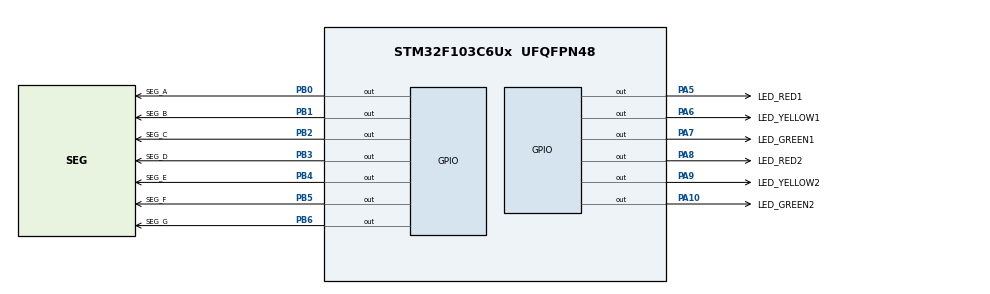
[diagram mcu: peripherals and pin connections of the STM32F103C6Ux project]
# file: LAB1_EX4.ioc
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Mcu.Family=STM32F1
Mcu.Name=STM32F103C6Ux
Mcu.Package=UFQFPN48
NVIC.PriorityGroup=NVIC_PRIORITYGROUP_4
PA10.GPIO_Label=LED_GREEN2
PA10.Signal=GPIO_Output
PA5.GPIO_Label=LED_RED1
PA5.Signal=GPIO_Output
PA6.GPIO_Label=LED_YELLOW1
PA6.Signal=GPIO_Output
PA7.GPIO_Label=LED_GREEN1
PA7.Signal=GPIO_Output
PA8.GPIO_Label=LED_RED2
PA8.Signal=GPIO_Output
PA9.GPIO_Label=LED_YELLOW2
PA9.Signal=GPIO_Output
PB0.GPIO_Label=SEG_A
PB0.Signal=GPIO_Output
PB1.GPIO_Label=SEG_B
PB1.Signal=GPIO_Output
PB2.GPIO_Label=SEG_C
PB2.Signal=GPIO_Output
PB3.GPIO_Label=SEG_D
PB3.Signal=GPIO_Output
PB4.GPIO_Label=SEG_E
PB4.Signal=GPIO_Output
PB5.GPIO_Label=SEG_F
PB5.Signal=GPIO_Output
PB6.GPIO_Label=SEG_G
PB6.Signal=GPIO_Output
ProjectManager.HeapSize=0x200
ProjectManager.StackSize=0x400
ProjectManager.TargetToolchain=STM32CubeIDE
RCC.APB1Freq_Value=8000000
RCC.APB2Freq_Value=8000000
VP_SYS_VS_ND.Mode=No_Debug
board=custom

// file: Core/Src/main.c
/* USER CODE BEGIN Header */
/**
  ******************************************************************************
  * @file           : main.c
  * @brief          : Main program body
  ******************************************************************************
  * @attention
  *
  * <h2><center>&copy; Copyright (c) 2024 STMicroelectronics.
  * All rights reserved.</center></h2>
  *
  * This software component is licensed by ST under BSD 3-Clause license,
  * the "License"; You may not use this file except in compliance with the
  * License. You may obtain a copy of the License at:
  *                        opensource.org/licenses/BSD-3-Clause
  *
  ******************************************************************************
  */
/* USER CODE END Header */
#include "main.h"

void SystemClock_Config(void);
static void MX_GPIO_Init(void);

int main(void)
{

  /* MCU Configuration--------------------------------------------------------*/

  /* Reset of all peripherals, Initializes the Flash interface and the Systick. */
  HAL_Init();

  /* Configure the system clock */
  SystemClock_Config();

  /* Initialize all configured peripherals */
  MX_GPIO_Init();

  /* Infinite loop */
  /* USER CODE BEGIN WHILE */
	int count = 0;
	int counter = 0;

	void display7SEG(int num) {
		if (num < 0 || num > 9)
			return;
		switch (num) {
		case 0:
			HAL_GPIO_WritePin(SEG_A_GPIO_Port, SEG_A_Pin, RESET);
			HAL_GPIO_WritePin(SEG_B_GPIO_Port, SEG_B_Pin, RESET);
			HAL_GPIO_WritePin(SEG_C_GPIO_Port, SEG_C_Pin, RESET);
			HAL_GPIO_WritePin(SEG_D_GPIO_Port, SEG_D_Pin, RESET);
			HAL_GPIO_WritePin(SEG_E_GPIO_Port, SEG_E_Pin, RESET);
			HAL_GPIO_WritePin(SEG_F_GPIO_Port, SEG_F_Pin, RESET);
			HAL_GPIO_WritePin(SEG_G_GPIO_Port, SEG_G_Pin, SET);
			break;
		case 1:
			HAL_GPIO_WritePin(SEG_A_GPIO_Port, SEG_A_Pin, SET);
			HAL_GPIO_WritePin(SEG_B_GPIO_Port, SEG_B_Pin, RESET);
			HAL_GPIO_WritePin(SEG_C_GPIO_Port, SEG_C_Pin, RESET);
			HAL_GPIO_WritePin(SEG_D_GPIO_Port, SEG_D_Pin, SET);
			HAL_GPIO_WritePin(SEG_E_GPIO_Port, SEG_E_Pin, SET);
			HAL_GPIO_WritePin(SEG_F_GPIO_Port, SEG_F_Pin, SET);
			HAL_GPIO_WritePin(SEG_G_GPIO_Port, SEG_G_Pin, SET);
			break;
		case 2:
			HAL_GPIO_WritePin(SEG_A_GPIO_Port, SEG_A_Pin, RESET);
			HAL_GPIO_WritePin(SEG_B_GPIO_Port, SEG_B_Pin, RESET);
			HAL_GPIO_WritePin(SEG_C_GPIO_Port, SEG_C_Pin, SET);
			HAL_GPIO_WritePin(SEG_D_GPIO_Port, SEG_D_Pin, RESET);
			HAL_GPIO_WritePin(SEG_E_GPIO_Port, SEG_E_Pin, RESET);
			HAL_GPIO_WritePin(SEG_F_GPIO_Port, SEG_F_Pin, SET);
			HAL_GPIO_WritePin(SEG_G_GPIO_Port, SEG_G_Pin, RESET);
			break;
		case 3:
			HAL_GPIO_WritePin(SEG_A_GPIO_Port, SEG_A_Pin, RESET);
			HAL_GPIO_WritePin(SEG_B_GPIO_Port, SEG_B_Pin, RESET);
			HAL_GPIO_WritePin(SEG_C_GPIO_Port, SEG_C_Pin, RESET);
			HAL_GPIO_WritePin(SEG_D_GPIO_Port, SEG_D_Pin, RESET);
			HAL_GPIO_WritePin(SEG_E_GPIO_Port, SEG_E_Pin, SET);
			HAL_GPIO_WritePin(SEG_F_GPIO_Port, SEG_F_Pin, SET);
			HAL_GPIO_WritePin(SEG_G_GPIO_Port, SEG_G_Pin, RESET);
			break;
		case 4:
			HAL_GPIO_WritePin(SEG_A_GPIO_Port, SEG_A_Pin, SET);
			HAL_GPIO_WritePin(SEG_B_GPIO_Port, SEG_B_Pin, RESET);
			HAL_GPIO_WritePin(SEG_C_GPIO_Port, SEG_C_Pin, RESET);
			HAL_GPIO_WritePin(SEG_D_GPIO_Port, SEG_D_Pin, SET);
			HAL_GPIO_WritePin(SEG_E_GPIO_Port, SEG_E_Pin, SET);
			HAL_GPIO_WritePin(SEG_F_GPIO_Port, SEG_F_Pin, RESET);
			HAL_GPIO_WritePin(SEG_G_GPIO_Port, SEG_G_Pin, RESET);
			break;
		case 5:
			HAL_GPIO_WritePin(SEG_A_GPIO_Port, SEG_A_Pin, RESET);
			HAL_GPIO_WritePin(SEG_B_GPIO_Port, SEG_B_Pin, SET);
			HAL_GPIO_WritePin(SEG_C_GPIO_Port, SEG_C_Pin, RESET);
			HAL_GPIO_WritePin(SEG_D_GPIO_Port, SEG_D_Pin, RESET);
			HAL_GPIO_WritePin(SEG_E_GPIO_Port, SEG_E_Pin, SET);
			HAL_GPIO_WritePin(SEG_F_GPIO_Port, SEG_F_Pin, RESET);
			HAL_GPIO_WritePin(SEG_G_GPIO_Port, SEG_G_Pin, RESET);
			break;
		case 6:
			HAL_GPIO_WritePin(SEG_A_GPIO_Port, SEG_A_Pin, RESET);
			HAL_GPIO_WritePin(SEG_B_GPIO_Port, SEG_B_Pin, SET);
			HAL_GPIO_WritePin(SEG_C_GPIO_Port, SEG_C_Pin, RESET);
			HAL_GPIO_WritePin(SEG_D_GPIO_Port, SEG_D_Pin, RESET);
			HAL_GPIO_WritePin(SEG_E_GPIO_Port, SEG_E_Pin, RESET);
			HAL_GPIO_WritePin(SEG_F_GPIO_Port, SEG_F_Pin, RESET);
			HAL_GPIO_WritePin(SEG_G_GPIO_Port, SEG_G_Pin, RESET);
			break;
		case 7:
			HAL_GPIO_WritePin(SEG_A_GPIO_Port, SEG_A_Pin, RESET);
			HAL_GPIO_WritePin(SEG_B_GPIO_Port, SEG_B_Pin, RESET);
			HAL_GPIO_WritePin(SEG_C_GPIO_Port, SEG_C_Pin, RESET);
			HAL_GPIO_WritePin(SEG_D_GPIO_Port, SEG_D_Pin, SET);
			HAL_GPIO_WritePin(SEG_E_GPIO_Port, SEG_E_Pin, SET);
			HAL_GPIO_WritePin(SEG_F_GPIO_Port, SEG_F_Pin, SET);
			HAL_GPIO_WritePin(SEG_G_GPIO_Port, SEG_G_Pin, SET);
			break;
		case 8:
			HAL_GPIO_WritePin(SEG_A_GPIO_Port, SEG_A_Pin, RESET);
			HAL_GPIO_WritePin(SEG_B_GPIO_Port, SEG_B_Pin, RESET);
			HAL_GPIO_WritePin(SEG_C_GPIO_Port, SEG_C_Pin, RESET);
			HAL_GPIO_WritePin(SEG_D_GPIO_Port, SEG_D_Pin, RESET);
			HAL_GPIO_WritePin(SEG_E_GPIO_Port, SEG_E_Pin, RESET);
			HAL_GPIO_WritePin(SEG_F_GPIO_Port, SEG_F_Pin, RESET);
			HAL_GPIO_WritePin(SEG_G_GPIO_Port, SEG_G_Pin, RESET);
			break;
		case 9:
			HAL_GPIO_WritePin(SEG_A_GPIO_Port, SEG_A_Pin, RESET);
			HAL_GPIO_WritePin(SEG_B_GPIO_Port, SEG_B_Pin, RESET);
			HAL_GPIO_WritePin(SEG_C_GPIO_Port, SEG_C_Pin, RESET);
			HAL_GPIO_WritePin(SEG_D_GPIO_Port, SEG_D_Pin, RESET);
			HAL_GPIO_WritePin(SEG_E_GPIO_Port, SEG_E_Pin, SET);
			HAL_GPIO_WritePin(SEG_F_GPIO_Port, SEG_F_Pin, RESET);
			HAL_GPIO_WritePin(SEG_G_GPIO_Port, SEG_G_Pin, RESET);
			break;
		}
	}

  while (1)
  {
		if (counter >= 10)
			counter = 0;
		display7SEG(counter++);
		if (count <= 4) {
			HAL_GPIO_WritePin(LED_RED1_GPIO_Port, LED_RED1_Pin, SET);
			HAL_GPIO_WritePin(LED_YELLOW1_GPIO_Port, LED_YELLOW1_Pin, RESET);
			HAL_GPIO_WritePin(LED_GREEN1_GPIO_Port, LED_GREEN1_Pin, RESET);
			if (count < 3) {
				HAL_GPIO_WritePin(LED_RED2_GPIO_Port, LED_RED2_Pin, RESET);
				HAL_GPIO_WritePin(LED_YELLOW2_GPIO_Port, LED_YELLOW2_Pin,
						RESET);
				HAL_GPIO_WritePin(LED_GREEN2_GPIO_Port, LED_GREEN2_Pin, SET);
			} else {
				HAL_GPIO_WritePin(LED_RED2_GPIO_Port, LED_RED2_Pin, RESET);
				HAL_GPIO_WritePin(LED_YELLOW2_GPIO_Port, LED_YELLOW2_Pin, SET);
				HAL_GPIO_WritePin(LED_GREEN2_GPIO_Port, LED_GREEN2_Pin, RESET);
			}
			count++;
		} else if (count > 4 && count < 9) {
			HAL_GPIO_WritePin(LED_RED2_GPIO_Port, LED_RED2_Pin, SET);
			HAL_GPIO_WritePin(LED_YELLOW2_GPIO_Port, LED_YELLOW2_Pin, RESET);
			HAL_GPIO_WritePin(LED_GREEN2_GPIO_Port, LED_GREEN2_Pin, RESET);
			if (count < 8) {
				HAL_GPIO_WritePin(LED_RED1_GPIO_Port, LED_RED1_Pin, RESET);
				HAL_GPIO_WritePin(LED_YELLOW1_GPIO_Port, LED_YELLOW1_Pin,
						RESET);
				HAL_GPIO_WritePin(LED_GREEN1_GPIO_Port, LED_GREEN1_Pin, SET);
			} else {
				HAL_GPIO_WritePin(LED_RED1_GPIO_Port, LED_RED1_Pin, RESET);
				HAL_GPIO_WritePin(LED_YELLOW1_GPIO_Port, LED_YELLOW1_Pin,
						SET);
				HAL_GPIO_WritePin(LED_GREEN1_GPIO_Port, LED_GREEN1_Pin, RESET);
			}
			count++;
		} else {
			count = 0;
		}
		HAL_Delay(1000);
    /* USER CODE END WHILE */

  }
}

void SystemClock_Config(void)
{
  RCC_OscInitTypeDef RCC_OscInitStruct = {0};
  RCC_ClkInitTypeDef RCC_ClkInitStruct = {0};

  /** Initializes the RCC Oscillators according to the specified parameters
  * in the RCC_OscInitTypeDef structure.
  */
  RCC_OscInitStruct.OscillatorType = RCC_OSCILLATORTYPE_HSI;
  RCC_OscInitStruct.HSIState = RCC_HSI_ON;
  RCC_OscInitStruct.HSICalibrationValue = RCC_HSICALIBRATION_DEFAULT;
  RCC_OscInitStruct.PLL.PLLState = RCC_PLL_NONE;
  if (HAL_RCC_OscConfig(&RCC_OscInitStruct) != HAL_OK)
  {
    Error_Handler();
  }
  /** Initializes the CPU, AHB and APB buses clocks
  */
  RCC_ClkInitStruct.ClockType = RCC_CLOCKTYPE_HCLK|RCC_CLOCKTYPE_SYSCLK
                              |RCC_CLOCKTYPE_PCLK1|RCC_CLOCKTYPE_PCLK2;
  RCC_ClkInitStruct.SYSCLKSource = RCC_SYSCLKSOURCE_HSI;
  RCC_ClkInitStruct.AHBCLKDivider = RCC_SYSCLK_DIV1;
  RCC_ClkInitStruct.APB1CLKDivider = RCC_HCLK_DIV1;
  RCC_ClkInitStruct.APB2CLKDivider = RCC_HCLK_DIV1;

  if (HAL_RCC_ClockConfig(&RCC_ClkInitStruct, FLASH_LATENCY_0) != HAL_OK)
  {
    Error_Handler();
  }
}

static void MX_GPIO_Init(void)
{
  GPIO_InitTypeDef GPIO_InitStruct = {0};

  /* GPIO Ports Clock Enable */
  __HAL_RCC_GPIOA_CLK_ENABLE();
  __HAL_RCC_GPIOB_CLK_ENABLE();

  /*Configure GPIO pin Output Level */
  HAL_GPIO_WritePin(GPIOA, LED_RED1_Pin|LED_YELLOW1_Pin|LED_GREEN1_Pin|LED_RED2_Pin
                          |LED_YELLOW2_Pin|LED_GREEN2_Pin, GPIO_PIN_RESET);

  /*Configure GPIO pin Output Level */
  HAL_GPIO_WritePin(GPIOB, SEG_A_Pin|SEG_B_Pin|SEG_C_Pin|SEG_D_Pin
                          |SEG_E_Pin|SEG_F_Pin|SEG_G_Pin, GPIO_PIN_RESET);

  /*Configure GPIO pins : LED_RED1_Pin LED_YELLOW1_Pin LED_GREEN1_Pin LED_RED2_Pin
                           LED_YELLOW2_Pin LED_GREEN2_Pin */
  GPIO_InitStruct.Pin = LED_RED1_Pin|LED_YELLOW1_Pin|LED_GREEN1_Pin|LED_RED2_Pin
                          |LED_YELLOW2_Pin|LED_GREEN2_Pin;
  GPIO_InitStruct.Mode = GPIO_MODE_OUTPUT_PP;
  GPIO_InitStruct.Pull = GPIO_NOPULL;
  GPIO_InitStruct.Speed = GPIO_SPEED_FREQ_LOW;
  HAL_GPIO_Init(GPIOA, &GPIO_InitStruct);

  /*Configure GPIO pins : SEG_A_Pin SEG_B_Pin SEG_C_Pin SEG_D_Pin
                           SEG_E_Pin SEG_F_Pin SEG_G_Pin */
  GPIO_InitStruct.Pin = SEG_A_Pin|SEG_B_Pin|SEG_C_Pin|SEG_D_Pin
                          |SEG_E_Pin|SEG_F_Pin|SEG_G_Pin;
  GPIO_InitStruct.Mode = GPIO_MODE_OUTPUT_PP;
  GPIO_InitStruct.Pull = GPIO_NOPULL;
  GPIO_InitStruct.Speed = GPIO_SPEED_FREQ_LOW;
  HAL_GPIO_Init(GPIOB, &GPIO_InitStruct);

}

void Error_Handler(void)
{
  __disable_irq();
  while (1)
  {
  }
}

/************************ (C) COPYRIGHT STMicroelectronics *****END OF FILE****/
